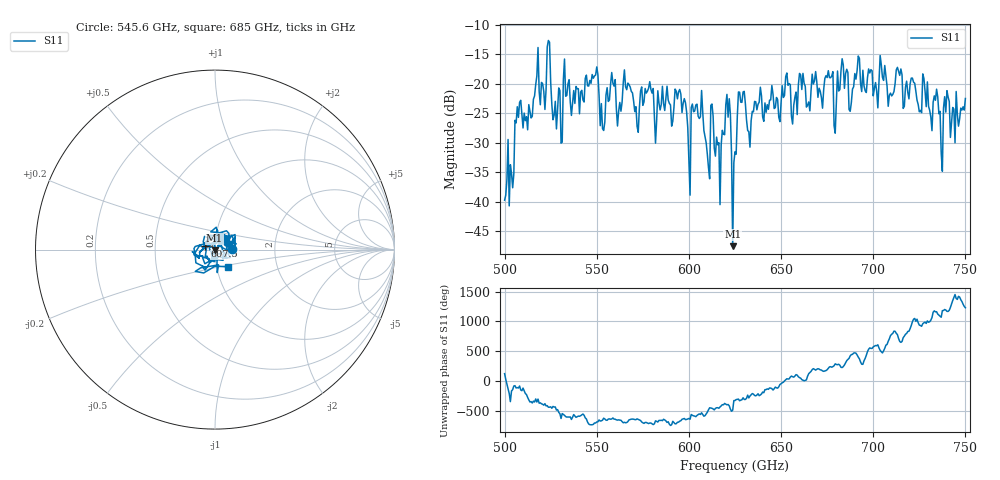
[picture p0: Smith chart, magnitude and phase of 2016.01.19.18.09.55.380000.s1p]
!Created with skrf (http://scikit-rf.org).
# GHz S RI R 50.0
!freq ReS11 ImS11
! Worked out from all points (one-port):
!   401 points, 500 GHz to 750 GHz, reference 50 ohm
!   lowest |S11| = -47.6 dB at 623.8 GHz (marker M1), VSWR 1.01, Z = 49.8 - j0.337 ohm
!   |S11| at or under -10 dB: start of sweep to end of sweep
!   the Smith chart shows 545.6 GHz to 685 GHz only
!   S11 on the Smith chart (normalised r, x): 545.6 GHz: 1.21, +0.01; 607.5 GHz: 0.90, +0.03; 685 GHz: 1.14, -0.22
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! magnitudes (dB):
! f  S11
! 500 GHz  -39.8
! 503.8 GHz  -35.2
! 507.5 GHz  -25.7
! 523.8 GHz  -12.6
! 526.9 GHz  -25.3
! 531.2 GHz  -29.9
! 545.6 GHz  -20.4
! 549.4 GHz  -18.5
! 553.1 GHz  -27.6
! 558.8 GHz  -19.9
! 562.5 GHz  -23.1
! 593.8 GHz  -22.5
! 599.4 GHz  -27.4
! 607.5 GHz  -24.9
! 615.6 GHz  -30.3
! 621.2 GHz  -25.6
! 623.8 GHz  -47.6
! 625 GHz  -31.5
! 628.1 GHz  -23.1
! 632.5 GHz  -28.1
! 653.8 GHz  -20.2
! 656.2 GHz  -26.8
! 685 GHz  -18.3
! 687.5 GHz  -24.7
! 691.2 GHz  -17.7
! 718.8 GHz  -21.4
! 736.9 GHz  -31.7
! 750 GHz  -22.5
